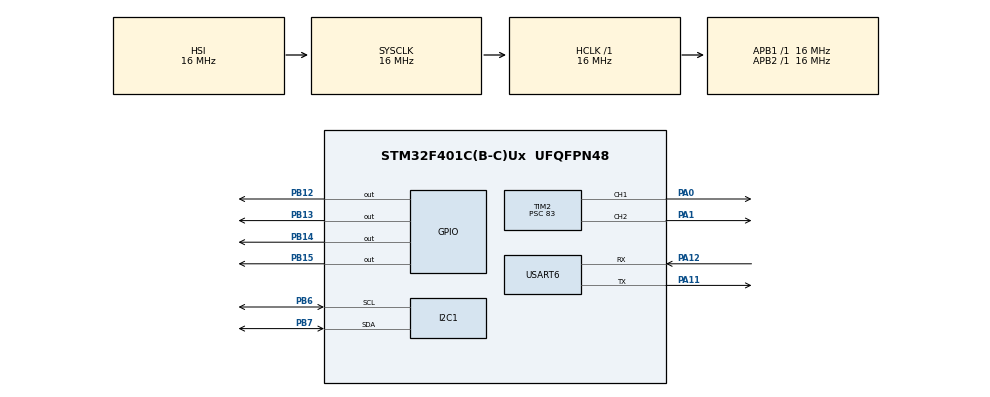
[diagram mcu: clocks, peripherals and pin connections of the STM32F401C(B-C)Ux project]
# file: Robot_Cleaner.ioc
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Dma.Request0=USART6_RX
Dma.USART6_RX.0.Direction=DMA_PERIPH_TO_MEMORY
Dma.USART6_RX.0.FIFOMode=DMA_FIFOMODE_DISABLE
Dma.USART6_RX.0.Instance=DMA2_Stream1
Dma.USART6_RX.0.MemDataAlignment=DMA_MDATAALIGN_BYTE
Dma.USART6_RX.0.MemInc=DMA_MINC_ENABLE
Dma.USART6_RX.0.Mode=DMA_NORMAL
Dma.USART6_RX.0.PeriphDataAlignment=DMA_PDATAALIGN_BYTE
Dma.USART6_RX.0.PeriphInc=DMA_PINC_DISABLE
Dma.USART6_RX.0.Priority=DMA_PRIORITY_LOW
Mcu.Family=STM32F4
Mcu.Name=STM32F401C(B-C)Ux
Mcu.Package=UFQFPN48
NVIC.DMA2_Stream1_IRQn=true\:0\:0\:false\:false\:true\:false\:true\:true
NVIC.PriorityGroup=NVIC_PRIORITYGROUP_4
NVIC.USART6_IRQn=true\:0\:0\:false\:false\:true\:true\:true\:true
PA0-WKUP.Signal=S_TIM2_CH1_ETR
PA1.Signal=S_TIM2_CH2
PA11.Mode=Asynchronous
PA11.Signal=USART6_TX
PA12.Mode=Asynchronous
PA12.Signal=USART6_RX
PA13.Mode=Serial_Wire
PA13.Signal=SYS_JTMS-SWDIO
PA14.Mode=Serial_Wire
PA14.Signal=SYS_JTCK-SWCLK
PB12.Signal=GPIO_Output
PB13.Signal=GPIO_Output
PB14.Signal=GPIO_Output
PB15.Signal=GPIO_Output
PB6.Mode=I2C
PB6.Signal=I2C1_SCL
PB7.Mode=I2C
PB7.Signal=I2C1_SDA
PH0\ -\ OSC_IN.Mode=HSE-External-Oscillator
PH0\ -\ OSC_IN.Signal=RCC_OSC_IN
PH1\ -\ OSC_OUT.Mode=HSE-External-Oscillator
PH1\ -\ OSC_OUT.Signal=RCC_OSC_OUT
ProjectManager.HeapSize=0x200
ProjectManager.StackSize=0x400
ProjectManager.TargetToolchain=STM32CubeIDE
RCC.AHBFreq_Value=16000000
RCC.APB1Freq_Value=16000000
RCC.APB2Freq_Value=16000000
RCC.CortexFreq_Value=16000000
RCC.HSE_VALUE=25000000
RCC.HSI_VALUE=16000000
RCC.LSE_VALUE=32768
RCC.SYSCLKFreq_VALUE=16000000
RCC.VCOOutputFreq_Value=192000000
SH.S_TIM2_CH1_ETR.0=TIM2_CH1,PWM Generation1 CH1
SH.S_TIM2_CH2.0=TIM2_CH2,PWM Generation2 CH2
TIM2.Channel-PWM\ Generation1\ CH1=TIM_CHANNEL_1
TIM2.Channel-PWM\ Generation2\ CH2=TIM_CHANNEL_2
TIM2.Period=1000-1
TIM2.Prescaler=83
USART6.VirtualMode=VM_ASYNC
board=custom

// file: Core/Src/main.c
/* USER CODE BEGIN Header */
/**
 ******************************************************************************
 * @file           : main.c
 * @brief          : Main program body
 ******************************************************************************
 * @attention
 *
 * Copyright (c) 2022 STMicroelectronics.
 * All rights reserved.
 *
 * This software is licensed under terms that can be found in the LICENSE file
 * in the root directory of this software component.
 * If no LICENSE file comes with this software, it is provided AS-IS.
 *
 ******************************************************************************
 */
/* USER CODE END Header */
#include "main.h"

/* USER CODE BEGIN Includes */
#include "LCD.h"
#include <stdio.h>
/* USER CODE END Includes */

/* USER CODE BEGIN PD */
#define v_kiri TIM2 -> CCR1
#define v_kanan TIM2 -> CCR2
/* USER CODE END PD */

 I2C_HandleTypeDef hi2c1;

TIM_HandleTypeDef htim2;

UART_HandleTypeDef huart6;
DMA_HandleTypeDef hdma_usart6_rx;

void SystemClock_Config(void);
static void MX_GPIO_Init(void);
static void MX_DMA_Init(void);
static void MX_USART6_UART_Init(void);
static void MX_I2C1_Init(void);
static void MX_TIM2_Init(void);
/* USER CODE BEGIN PFP */
void Stop(void);
void Forward(void);
void Left(void);
void Right(void);
/* USER CODE END PFP */

/* USER CODE BEGIN 0 */
uint8_t flag;
//=-----Serial Communication-----=//

float gyro_z_data;
float dist_to_obj;
uint8_t state;

#define rx_size 20
#define main_size 30

uint8_t rx_msgs[rx_size];
uint8_t main_msgs[main_size];

char *datas;

void HAL_UARTEx_RxEventCallback(UART_HandleTypeDef *huart, uint16_t size)
{
  if (huart->Instance == USART6)
  {
	  memcpy(&state, rx_msgs, 1);
	  memcpy(&gyro_z_data, rx_msgs + 1, 4);
	  memcpy(&dist_to_obj, rx_msgs + 5, 4);
//    // split the rx_msgs when found a comma
//    datas = strtok((char *)rx_msgs, "~");
//    // get the first data
//    state = atoi(datas);
//    // get the second data
//    datas = strtok(NULL, "~");
//    gyro_z_data = atof(datas);
//    // get the third data
//    datas = strtok(NULL, "~");
//    dist_to_obj = atof(datas);
    HAL_UARTEx_ReceiveToIdle_DMA(&huart6, rx_msgs, rx_size);
    __HAL_DMA_DISABLE_IT(&hdma_usart6_rx, DMA_IT_HT);
  }
}

char buff[10];
/* USER CODE END 0 */

int main(void)
{

  /* MCU Configuration--------------------------------------------------------*/

  /* Reset of all peripherals, Initializes the Flash interface and the Systick. */
  HAL_Init();

  /* Configure the system clock */
  SystemClock_Config();

  /* Initialize all configured peripherals */
  MX_GPIO_Init();
  MX_DMA_Init();
  MX_USART6_UART_Init();
  MX_I2C1_Init();
  MX_TIM2_Init();
  /* USER CODE BEGIN 2 */
  HAL_TIM_PWM_Start(&htim2, TIM_CHANNEL_1);
  HAL_TIM_PWM_Start(&htim2, TIM_CHANNEL_2);
  lcd_init();
  lcd_put_cur(0, 3);
  lcd_send_string("Initializing");
  HAL_Delay(1000);
  lcd_send_string(".");
  HAL_Delay(1000);
  lcd_send_string(".");
  HAL_Delay(1000);
  lcd_send_string(".");
  HAL_Delay(1000);
  lcd_clear();

  lcd_put_cur(0, 3);
  lcd_send_string("HELLO SET :)");
  lcd_clear();

  HAL_UARTEx_ReceiveToIdle_DMA(&huart6, rx_msgs, rx_size);
  __HAL_DMA_DISABLE_IT(&hdma_usart6_rx, DMA_IT_HT);

  static uint8_t algorithm_state;

  HAL_GPIO_WritePin(GPIOB, GPIO_PIN_12, 0);
  HAL_GPIO_WritePin(GPIOB, GPIO_PIN_13, 0);
  HAL_GPIO_WritePin(GPIOB, GPIO_PIN_14, 0);
  HAL_GPIO_WritePin(GPIOB, GPIO_PIN_15, 0);

  v_kanan = 600;
  v_kiri = 820;

  /* USER CODE END 2 */

  /* Infinite loop */
  /* USER CODE BEGIN WHILE */
  while (1)
  {
	  lcd_put_cur(0, 0);
	  sprintf(buff, "%d", algorithm_state);
	  lcd_send_string(buff);
	  lcd_put_cur(0, 15);
	  sprintf(buff, "%d", state);
	  lcd_send_string(buff);

	  lcd_put_cur(1, 0);
	  sprintf(buff, "%.2f", gyro_z_data);
	  lcd_send_string(buff);
	  lcd_put_cur(1, 8);
	  sprintf(buff, "%.2f", dist_to_obj);
	  lcd_send_string(buff);
    /* USER CODE END WHILE */

    /* USER CODE BEGIN 3 */
//	  Forward();

	  switch(state)
	  {

	  case 0:
		  algorithm_state = 0;
		  Stop();
		  break;
	  case 1:
		  switch(algorithm_state)
		  {
		  case 0:
			  if(!flag)
				  algorithm_state = 10;
			  else
				  algorithm_state = 30;
			  break;

		  case 10:
			  Forward();
			  if(gyro_z_data > 10 )
				  Right();
			  if(gyro_z_data < -10 )
				  Left();

			  if(dist_to_obj < 20)
				  algorithm_state = 11;
			  break;
		  case 11:
			  Right();
			  if(gyro_z_data < -90 + 10)
				  algorithm_state = 12;
			  break;
		  case 12:
			  Forward();
			  if(gyro_z_data > -85)
				  Right();
			  if(gyro_z_data < -95)
				  Left();
			  HAL_Delay(500);
			  algorithm_state = 13;
			  break;
		  case 13:
			  Right();
			  if(gyro_z_data < -180 + 10)
			  {
				  flag = 1;
				  algorithm_state = 0;
			  }
			  break;

		  case 30:
			  Forward();
			  if(gyro_z_data < -170 )
				  Right();
			  if(gyro_z_data > 170 )
				  Left();

			  if(dist_to_obj < 10)
				  algorithm_state = 31;
			  break;
		  case 31:
			  Left();
			  if(gyro_z_data > -90)
				  algorithm_state = 32;
			  break;
		  case 32:
			  Forward();
			  if(gyro_z_data > -85)
				  Right();
			  if(gyro_z_data < -95)
				  Left();
			  HAL_Delay(500);
			  algorithm_state = 33;
			  break;
		  case 33:
			  Left();
			  if(gyro_z_data > - 10)
			  {
				  flag = 0;
				  algorithm_state = 0;
			  }
			  break;

		  }
		  break;
	  }
  }
  /* USER CODE END 3 */
}

void SystemClock_Config(void)
{
  RCC_OscInitTypeDef RCC_OscInitStruct = {0};
  RCC_ClkInitTypeDef RCC_ClkInitStruct = {0};

  /** Configure the main internal regulator output voltage
  */
  __HAL_RCC_PWR_CLK_ENABLE();
  __HAL_PWR_VOLTAGESCALING_CONFIG(PWR_REGULATOR_VOLTAGE_SCALE2);

  /** Initializes the RCC Oscillators according to the specified parameters
  * in the RCC_OscInitTypeDef structure.
  */
  RCC_OscInitStruct.OscillatorType = RCC_OSCILLATORTYPE_HSI;
  RCC_OscInitStruct.HSIState = RCC_HSI_ON;
  RCC_OscInitStruct.HSICalibrationValue = RCC_HSICALIBRATION_DEFAULT;
  RCC_OscInitStruct.PLL.PLLState = RCC_PLL_NONE;
  if (HAL_RCC_OscConfig(&RCC_OscInitStruct) != HAL_OK)
  {
    Error_Handler();
  }

  /** Initializes the CPU, AHB and APB buses clocks
  */
  RCC_ClkInitStruct.ClockType = RCC_CLOCKTYPE_HCLK|RCC_CLOCKTYPE_SYSCLK
                              |RCC_CLOCKTYPE_PCLK1|RCC_CLOCKTYPE_PCLK2;
  RCC_ClkInitStruct.SYSCLKSource = RCC_SYSCLKSOURCE_HSI;
  RCC_ClkInitStruct.AHBCLKDivider = RCC_SYSCLK_DIV1;
  RCC_ClkInitStruct.APB1CLKDivider = RCC_HCLK_DIV1;
  RCC_ClkInitStruct.APB2CLKDivider = RCC_HCLK_DIV1;

  if (HAL_RCC_ClockConfig(&RCC_ClkInitStruct, FLASH_LATENCY_0) != HAL_OK)
  {
    Error_Handler();
  }
}

static void MX_I2C1_Init(void)
{

  hi2c1.Instance = I2C1;
  hi2c1.Init.ClockSpeed = 100000;
  hi2c1.Init.DutyCycle = I2C_DUTYCYCLE_2;
  hi2c1.Init.OwnAddress1 = 0;
  hi2c1.Init.AddressingMode = I2C_ADDRESSINGMODE_7BIT;
  hi2c1.Init.DualAddressMode = I2C_DUALADDRESS_DISABLE;
  hi2c1.Init.OwnAddress2 = 0;
  hi2c1.Init.GeneralCallMode = I2C_GENERALCALL_DISABLE;
  hi2c1.Init.NoStretchMode = I2C_NOSTRETCH_DISABLE;
  if (HAL_I2C_Init(&hi2c1) != HAL_OK)
  {
    Error_Handler();
  }

}

static void MX_TIM2_Init(void)
{

  TIM_MasterConfigTypeDef sMasterConfig = {0};
  TIM_OC_InitTypeDef sConfigOC = {0};

  htim2.Instance = TIM2;
  htim2.Init.Prescaler = 83;
  htim2.Init.CounterMode = TIM_COUNTERMODE_UP;
  htim2.Init.Period = 1000-1;
  htim2.Init.ClockDivision = TIM_CLOCKDIVISION_DIV1;
  htim2.Init.AutoReloadPreload = TIM_AUTORELOAD_PRELOAD_DISABLE;
  if (HAL_TIM_PWM_Init(&htim2) != HAL_OK)
  {
    Error_Handler();
  }
  sMasterConfig.MasterOutputTrigger = TIM_TRGO_RESET;
  sMasterConfig.MasterSlaveMode = TIM_MASTERSLAVEMODE_DISABLE;
  if (HAL_TIMEx_MasterConfigSynchronization(&htim2, &sMasterConfig) != HAL_OK)
  {
    Error_Handler();
  }
  sConfigOC.OCMode = TIM_OCMODE_PWM1;
  sConfigOC.Pulse = 0;
  sConfigOC.OCPolarity = TIM_OCPOLARITY_HIGH;
  sConfigOC.OCFastMode = TIM_OCFAST_DISABLE;
  if (HAL_TIM_PWM_ConfigChannel(&htim2, &sConfigOC, TIM_CHANNEL_1) != HAL_OK)
  {
    Error_Handler();
  }
  if (HAL_TIM_PWM_ConfigChannel(&htim2, &sConfigOC, TIM_CHANNEL_2) != HAL_OK)
  {
    Error_Handler();
  }
  HAL_TIM_MspPostInit(&htim2);

}

static void MX_USART6_UART_Init(void)
{

  huart6.Instance = USART6;
  huart6.Init.BaudRate = 115200;
  huart6.Init.WordLength = UART_WORDLENGTH_8B;
  huart6.Init.StopBits = UART_STOPBITS_1;
  huart6.Init.Parity = UART_PARITY_NONE;
  huart6.Init.Mode = UART_MODE_TX_RX;
  huart6.Init.HwFlowCtl = UART_HWCONTROL_NONE;
  huart6.Init.OverSampling = UART_OVERSAMPLING_16;
  if (HAL_UART_Init(&huart6) != HAL_OK)
  {
    Error_Handler();
  }

}

static void MX_DMA_Init(void)
{

  /* DMA controller clock enable */
  __HAL_RCC_DMA2_CLK_ENABLE();

  /* DMA interrupt init */
  /* DMA2_Stream1_IRQn interrupt configuration */
  HAL_NVIC_SetPriority(DMA2_Stream1_IRQn, 0, 0);
  HAL_NVIC_EnableIRQ(DMA2_Stream1_IRQn);

}

static void MX_GPIO_Init(void)
{
  GPIO_InitTypeDef GPIO_InitStruct = {0};

  /* GPIO Ports Clock Enable */
  __HAL_RCC_GPIOH_CLK_ENABLE();
  __HAL_RCC_GPIOA_CLK_ENABLE();
  __HAL_RCC_GPIOB_CLK_ENABLE();

  /*Configure GPIO pin Output Level */
  HAL_GPIO_WritePin(GPIOB, GPIO_PIN_12|GPIO_PIN_13|GPIO_PIN_14|GPIO_PIN_15, GPIO_PIN_RESET);

  /*Configure GPIO pins : PB12 PB13 PB14 PB15 */
  GPIO_InitStruct.Pin = GPIO_PIN_12|GPIO_PIN_13|GPIO_PIN_14|GPIO_PIN_15;
  GPIO_InitStruct.Mode = GPIO_MODE_OUTPUT_PP;
  GPIO_InitStruct.Pull = GPIO_NOPULL;
  GPIO_InitStruct.Speed = GPIO_SPEED_FREQ_LOW;
  HAL_GPIO_Init(GPIOB, &GPIO_InitStruct);

}

/* USER CODE BEGIN 4 */
void Stop(void)
{
	lcd_put_cur(0, 5);
	lcd_send_string("Stop");
	lcd_clear();
	HAL_GPIO_WritePin(GPIOB, GPIO_PIN_12, 0);
	HAL_GPIO_WritePin(GPIOB, GPIO_PIN_13, 0);
	HAL_GPIO_WritePin(GPIOB, GPIO_PIN_14, 0);
	HAL_GPIO_WritePin(GPIOB, GPIO_PIN_15, 0);
}
void Forward(void)
{
	lcd_put_cur(0, 5);
	lcd_send_string("Forward");
	lcd_clear();
	HAL_GPIO_WritePin(GPIOB, GPIO_PIN_12, 1);
	HAL_GPIO_WritePin(GPIOB, GPIO_PIN_13, 0);
	HAL_GPIO_WritePin(GPIOB, GPIO_PIN_14, 0);
	HAL_GPIO_WritePin(GPIOB, GPIO_PIN_15, 1);
}
void Left(void)
{
	lcd_put_cur(0, 5);
	lcd_send_string("Left");
	lcd_clear();
	HAL_GPIO_WritePin(GPIOB, GPIO_PIN_12, 1);
	HAL_GPIO_WritePin(GPIOB, GPIO_PIN_13, 0);
	HAL_GPIO_WritePin(GPIOB, GPIO_PIN_14, 0);
	HAL_GPIO_WritePin(GPIOB, GPIO_PIN_15, 0);
}
void Right(void)
{
	lcd_put_cur(0, 5);
	lcd_send_string("Right");
	lcd_clear();
	HAL_GPIO_WritePin(GPIOB, GPIO_PIN_12, 0);
	HAL_GPIO_WritePin(GPIOB, GPIO_PIN_13, 0);
	HAL_GPIO_WritePin(GPIOB, GPIO_PIN_14, 0);
	HAL_GPIO_WritePin(GPIOB, GPIO_PIN_15, 1);
}
/* USER CODE END 4 */

void Error_Handler(void)
{
  __disable_irq();
  while (1)
  {
  }
}
